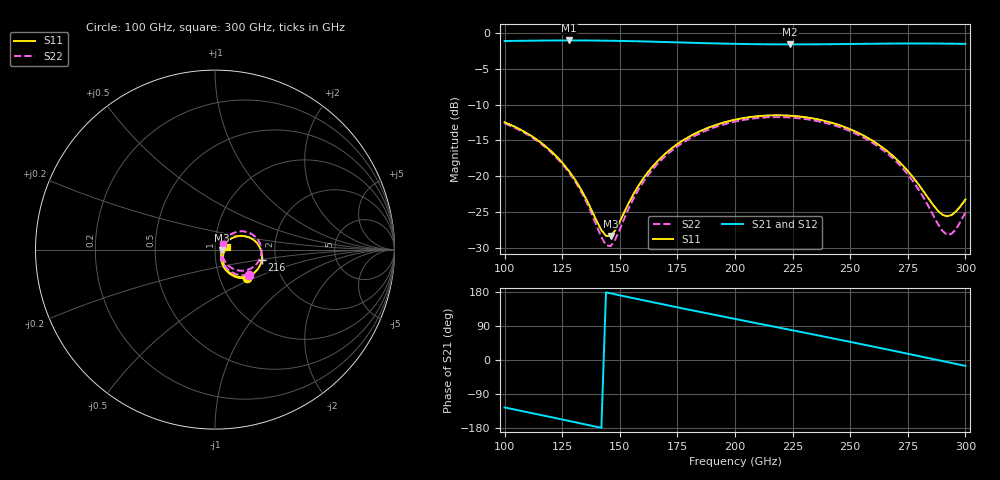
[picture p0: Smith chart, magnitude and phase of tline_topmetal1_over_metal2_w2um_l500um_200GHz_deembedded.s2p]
! Created with skrf 2.0.1 (http://scikit-rf.org).
# GHz S DB R 50.0
!freq dBS11 angS11 dBS21 angS21 dBS12 angS12 dBS22 angS22
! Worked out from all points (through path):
!   101 points, 100 GHz to 300 GHz, reference 50 ohm
!   highest |S21| = -1.01 dB at 128 GHz (marker M1); lowest = -1.6 dB at 224 GHz (marker M2)
!   group delay of S21, straight-line fit = 3.45 ps
!   lowest |S11| = -28.4 dB at 146 GHz (marker M3), VSWR 1.08, Z = 53.9 - j0.471 ohm
!   |S11| at or under -10 dB: start of sweep to end of sweep
!   |S22| runs from -29.8 to -11.7 dB; largest |S21 - S12| = 1.5e-13
!   S11 on the Smith chart (normalised r, x): 100 GHz: 1.35, -0.45; 216 GHz: 1.69, -0.21; 300 GHz: 1.14, +0.03
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100  -12.47 -41.5  -1.08 -125.3  -1.08 -125.3  -12.61 -37.0
116  -15.37 -56.6  -1.02 -145.5  -1.02 -145.5  -15.53 -51.7
128  -19.32 -63.3  -1.01 -160.9  -1.01 -160.9  -19.52 -58.8
134  -22.35 -61.4  -1.01 -168.6  -1.01 -168.6  -22.65 -57.6
142  -27.56 -36.5  -1.03 -179.0  -1.03 -179.0  -28.55 -33.7
144  -28.36 -22.3  -1.04 178.5  -1.04 178.5  -29.66 -18.1
146  -28.37 -6.6  -1.05 175.9  -1.05 175.9  -29.81 0.5
148  -27.59 7.5  -1.06 173.3  -1.06 173.3  -28.91 17.1
158  -21.40 33.8  -1.12 160.5  -1.12 160.5  -21.94 45.2
168  -17.38 32.1  -1.21 147.8  -1.21 147.8  -17.74 43.2
182  -14.15 21.1  -1.34 130.4  -1.34 130.4  -14.45 32.3
200  -12.10 3.6  -1.48 108.4  -1.48 108.4  -12.36 15.2
216  -11.49 -12.7  -1.55 89.2  -1.55 89.2  -11.75 -0.7
224  -11.54 -20.8  -1.56 79.6  -1.56 79.6  -11.79 -8.7
234  -11.93 -30.9  -1.55 67.5  -1.55 67.5  -12.19 -18.6
252  -13.72 -47.9  -1.49 45.4  -1.49 45.4  -13.99 -35.7
268  -17.02 -59.2  -1.44 25.3  -1.44 25.3  -17.37 -48.1
278  -20.46 -59.2  -1.43 12.6  -1.43 12.6  -21.05 -50.2
288  -24.83 -38.6  -1.44 -0.2  -1.44 -0.2  -26.66 -31.1
292  -25.62 -20.0  -1.45 -5.3  -1.45 -5.3  -28.21 -7.6
296  -24.93 -1.1  -1.47 -10.4  -1.47 -10.4  -27.38 18.6
300  -23.28 11.8  -1.49 -15.5  -1.49 -15.5  -25.09 34.7
